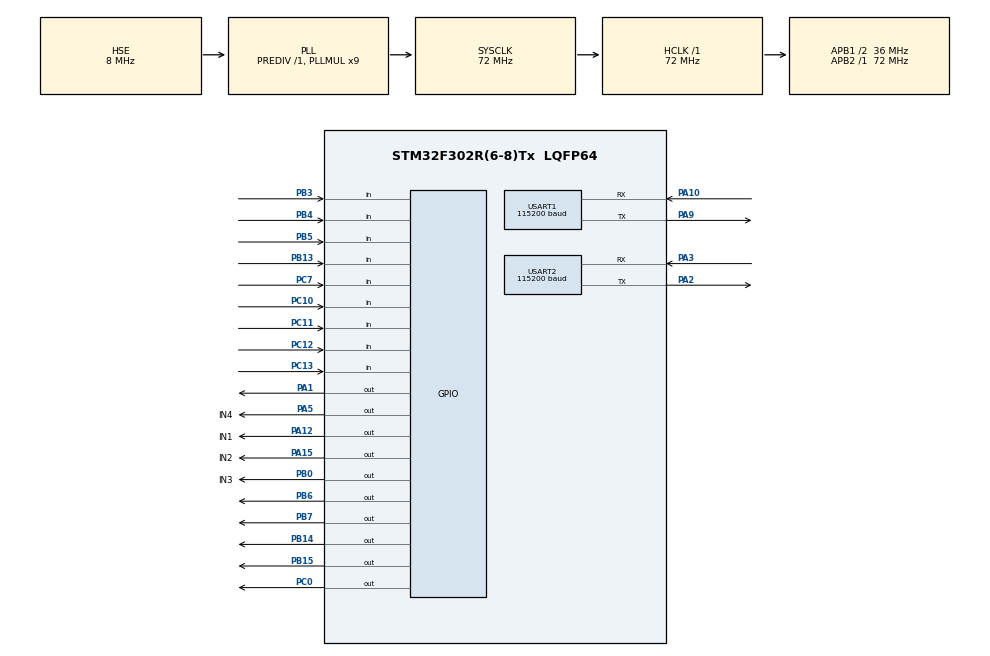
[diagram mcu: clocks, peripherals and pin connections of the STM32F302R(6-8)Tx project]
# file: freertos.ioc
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FREERTOS.Tasks01=Servo,0,128,StartServo,Default,NULL,Dynamic,NULL,NULL;Stepper,0,128,StartStepper,Default,NULL,Dynamic,NULL,NULL;Interrumpir,0,128,StartInterrumpir,Default,NULL,Dynamic,NULL,NULL
FREERTOS.configUSE_NEWLIB_REENTRANT=1
Mcu.Family=STM32F3
Mcu.Name=STM32F302R(6-8)Tx
Mcu.Package=LQFP64
NVIC.PriorityGroup=NVIC_PRIORITYGROUP_4
NVIC.TIM6_DAC_IRQn=true\:15\:0\:false\:false\:true\:false\:false\:true\:true
NVIC.TimeBase=TIM6_DAC_IRQn
NVIC.TimeBaseIP=TIM6
NVIC.USART1_IRQn=true\:5\:0\:false\:false\:true\:true\:true\:true\:true
NVIC.USART2_IRQn=true\:5\:0\:false\:false\:true\:true\:true\:true\:true
PA1.Signal=GPIO_Output
PA10.Mode=Asynchronous
PA10.Signal=USART1_RX
PA12.GPIO_Label=IN1
PA12.Signal=GPIO_Output
PA13.Mode=Serial_Wire
PA13.Signal=SYS_JTMS-SWDIO
PA14.Mode=Serial_Wire
PA14.Signal=SYS_JTCK-SWCLK
PA15.GPIO_Label=IN2
PA15.Signal=GPIO_Output
PA2.Mode=Asynchronous
PA2.Signal=USART2_TX
PA3.Mode=Asynchronous
PA3.Signal=USART2_RX
PA5.GPIO_Label=IN4
PA5.Signal=GPIO_Output
PA9.Mode=Asynchronous
PA9.Signal=USART1_TX
PB0.GPIO_Label=IN3
PB0.Signal=GPIO_Output
PB13.Signal=GPIO_Input
PB14.Signal=GPIO_Output
PB15.Signal=GPIO_Output
PB3.Signal=GPIO_Input
PB4.Signal=GPIO_Input
PB5.Signal=GPIO_Input
PB6.Signal=GPIO_Output
PB7.Signal=GPIO_Output
PC0.Signal=GPIO_Output
PC10.GPIO_PuPd=GPIO_NOPULL
PC10.Signal=GPIO_Input
PC11.GPIO_PuPd=GPIO_NOPULL
PC11.Signal=GPIO_Input
PC12.GPIO_PuPd=GPIO_NOPULL
PC12.Signal=GPIO_Input
PC13.GPIO_PuPd=GPIO_NOPULL
PC13.Signal=GPIO_Input
PC7.Signal=GPIO_Input
PF0-OSC_IN.Mode=HSE-External-Oscillator
PF0-OSC_IN.Signal=RCC_OSC_IN
PF1-OSC_OUT.Mode=HSE-External-Oscillator
PF1-OSC_OUT.Signal=RCC_OSC_OUT
ProjectManager.HeapSize=0x200
ProjectManager.StackSize=0x400
ProjectManager.TargetToolchain=STM32CubeIDE
RCC.AHBFreq_Value=72000000
RCC.APB1CLKDivider=RCC_HCLK_DIV2
RCC.APB1Freq_Value=36000000
RCC.APB1TimFreq_Value=72000000
RCC.APB2Freq_Value=72000000
RCC.APB2TimFreq_Value=72000000
RCC.CortexFreq_Value=72000000
RCC.HCLKFreq_Value=72000000
RCC.HSE_VALUE=8000000
RCC.HSI_VALUE=8000000
RCC.LSE_VALUE=32768
RCC.PLLM=8
RCC.PLLMUL=RCC_PLL_MUL9
RCC.PLLN=336
RCC.PLLP=RCC_PLLP_DIV4
RCC.PLLQ=7
RCC.PLLSourceVirtual=RCC_PLLSOURCE_HSE
RCC.SYSCLKFreq_VALUE=72000000
RCC.SYSCLKSourceVirtual=RCC_SYSCLKSOURCE_PLLCLK
RCC.USBFreq_Value=72000000
TIM1.Period=65535
TIM1.Prescaler=71
TIM2.Period=65535
TIM2.Prescaler=72-1
USART1.BaudRate=115200
USART1.VirtualMode-Asynchronous=VM_ASYNC
USART2.BaudRate=115200
USART2.VirtualMode-Asynchronous=VM_ASYNC
VP_FREERTOS_VS_CMSIS_V1.Mode=CMSIS_V1
VP_SYS_VS_tim6.Mode=TIM6
VP_TIM1_VS_ClockSourceINT.Mode=Internal
VP_TIM2_VS_ClockSourceINT.Mode=Internal
board=NUCLEO-F302R8

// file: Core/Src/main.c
/* USER CODE BEGIN Header */
/**
 ******************************************************************************
 * @file           : main.c
 * @brief          : Main program body
 ******************************************************************************
 * @attention
 *
 * Copyright (c) 2023 STMicroelectronics.
 * All rights reserved.
 *
 * This software is licensed under terms that can be found in the LICENSE file
 * in the root directory of this software component.
 * If no LICENSE file comes with this software, it is provided AS-IS.
 *
 ******************************************************************************
 ******************************************************************************
 Nombre: Angel Gabrir Segura V

 Matricula: 2021-0311

 Proyecto final
 ******************************************************************************
 ******************************************************************************
 */
/* USER CODE END Header */
#include "main.h"
#include "cmsis_os.h"

/* USER CODE BEGIN Includes */
#include "StepMotor.h"
//#include "Servo.h"
#include "max_matrix_stm32.h"
//#include "UartRingbuffer_multi.h"
/* USER CODE END Includes */

TIM_HandleTypeDef htim1;
TIM_HandleTypeDef htim2;

UART_HandleTypeDef huart1;
UART_HandleTypeDef huart2;

osThreadId ServoHandle;
osThreadId StepperHandle;
osThreadId InterrumpirHandle;

void SystemClock_Config(void);
static void MX_GPIO_Init(void);
static void MX_TIM2_Init(void);
static void MX_TIM1_Init(void);
static void MX_USART1_UART_Init(void);
static void MX_USART2_UART_Init(void);
void StartServo(void const *argument);
void StartStepper(void const *argument);
void StartInterrumpir(void const *argument);

/* USER CODE BEGIN PFP */
int NIVEL1 = 0;
int NIVEL2 = 0;
int NIVEL3 = 0;
int SETT = 0;
/* USER CODE END PFP */

/* USER CODE BEGIN 0 */
#define DIR_PIN GPIO_PIN_7  // for motor1
#define DIR_PORT GPIOB     // for motor1
#define STEP_PIN GPIO_PIN_1 // for motor1
#define STEP_PORT GPIOA   // for motor1

void delay(uint16_t us) {
	__HAL_TIM_SET_COUNTER(&htim1, 0);

	while (__HAL_TIM_GET_COUNTER(&htim1) < us)
		;
}

#define stepsperrev 4096

// micro seconds delay for motor1
void microDelay1(uint16_t delayy) {
	__HAL_TIM_SET_COUNTER(&htim1, 0);
	while (__HAL_TIM_GET_COUNTER(&htim1) < delayy)
		;
}

// motor1 for both directions
void step(int stepss, uint8_t directionN, uint16_t delayyy) {
	int x;
	if (directionN == 0)
		HAL_GPIO_WritePin(DIR_PORT, DIR_PIN, GPIO_PIN_SET);
	else
		HAL_GPIO_WritePin(DIR_PORT, DIR_PIN, GPIO_PIN_RESET);
	for (x = 0; x < stepss; x = x + 1) {
		HAL_GPIO_WritePin(STEP_PORT, STEP_PIN, GPIO_PIN_SET);
		microDelay1(delayyy);
		HAL_GPIO_WritePin(STEP_PORT, STEP_PIN, GPIO_PIN_RESET);
		microDelay1(delayyy);
	}
}

/* USER CODE END 0 */

int main(void) {

	/* MCU Configuration--------------------------------------------------------*/

	/* Reset of all peripherals, Initializes the Flash interface and the Systick. */
	HAL_Init();

	/* Configure the system clock */
	SystemClock_Config();

	/* Initialize all configured peripherals */
	MX_GPIO_Init();
	MX_TIM2_Init();
	MX_TIM1_Init();
	MX_USART1_UART_Init();
	MX_USART2_UART_Init();
	/* USER CODE BEGIN 2 */
	HAL_TIM_Base_Start(&htim2);
	HAL_TIM_Base_Start(&htim1);
	max_init(0x02);
	//ESP_Init("Redmi Note 9S", "53c289b6633c");
	//Ringbuf_init();
	//ESP_Init(ssid, password);
	//ESP_Init("CLAROKN9QT", "485754435EBED19C");
	//HAL_TIM_Base_Start(&htim1);
	/* USER CODE END 2 */

	/* Create the thread(s) */
	/* definition and creation of Servo */
	osThreadDef(Servo, StartServo, osPriorityNormal, 0, 128);
	ServoHandle = osThreadCreate(osThread(Servo), NULL);

	/* definition and creation of Stepper */
	osThreadDef(Stepper, StartStepper, osPriorityNormal, 0, 128);
	StepperHandle = osThreadCreate(osThread(Stepper), NULL);

	/* definition and creation of Interrumpir */
	osThreadDef(Interrumpir, StartInterrumpir, osPriorityNormal, 0, 128);
	InterrumpirHandle = osThreadCreate(osThread(Interrumpir), NULL);

	/* Start scheduler */
	osKernelStart();
	/* We should never get here as control is now taken by the scheduler */
	/* Infinite loop */
	while (1) {

	}
}

void SystemClock_Config(void) {
	RCC_OscInitTypeDef RCC_OscInitStruct = { 0 };
	RCC_ClkInitTypeDef RCC_ClkInitStruct = { 0 };
	RCC_PeriphCLKInitTypeDef PeriphClkInit = { 0 };

	/** Initializes the RCC Oscillators according to the specified parameters
	 * in the RCC_OscInitTypeDef structure.
	 */
	RCC_OscInitStruct.OscillatorType = RCC_OSCILLATORTYPE_HSE;
	RCC_OscInitStruct.HSEState = RCC_HSE_ON;
	RCC_OscInitStruct.HSEPredivValue = RCC_HSE_PREDIV_DIV1;
	RCC_OscInitStruct.HSIState = RCC_HSI_ON;
	RCC_OscInitStruct.PLL.PLLState = RCC_PLL_ON;
	RCC_OscInitStruct.PLL.PLLSource = RCC_PLLSOURCE_HSE;
	RCC_OscInitStruct.PLL.PLLMUL = RCC_PLL_MUL9;
	if (HAL_RCC_OscConfig(&RCC_OscInitStruct) != HAL_OK) {
		Error_Handler();
	}

	/** Initializes the CPU, AHB and APB buses clocks
	 */
	RCC_ClkInitStruct.ClockType = RCC_CLOCKTYPE_HCLK | RCC_CLOCKTYPE_SYSCLK
			| RCC_CLOCKTYPE_PCLK1 | RCC_CLOCKTYPE_PCLK2;
	RCC_ClkInitStruct.SYSCLKSource = RCC_SYSCLKSOURCE_PLLCLK;
	RCC_ClkInitStruct.AHBCLKDivider = RCC_SYSCLK_DIV1;
	RCC_ClkInitStruct.APB1CLKDivider = RCC_HCLK_DIV2;
	RCC_ClkInitStruct.APB2CLKDivider = RCC_HCLK_DIV1;

	if (HAL_RCC_ClockConfig(&RCC_ClkInitStruct, FLASH_LATENCY_2) != HAL_OK) {
		Error_Handler();
	}
	PeriphClkInit.PeriphClockSelection = RCC_PERIPHCLK_USART1
			| RCC_PERIPHCLK_TIM1;
	PeriphClkInit.Usart1ClockSelection = RCC_USART1CLKSOURCE_PCLK1;
	PeriphClkInit.Tim1ClockSelection = RCC_TIM1CLK_HCLK;
	if (HAL_RCCEx_PeriphCLKConfig(&PeriphClkInit) != HAL_OK) {
		Error_Handler();
	}
}

static void MX_TIM1_Init(void) {

	TIM_ClockConfigTypeDef sClockSourceConfig = { 0 };
	TIM_MasterConfigTypeDef sMasterConfig = { 0 };

	htim1.Instance = TIM1;
	htim1.Init.Prescaler = 71;
	htim1.Init.CounterMode = TIM_COUNTERMODE_UP;
	htim1.Init.Period = 65535;
	htim1.Init.ClockDivision = TIM_CLOCKDIVISION_DIV1;
	htim1.Init.RepetitionCounter = 0;
	htim1.Init.AutoReloadPreload = TIM_AUTORELOAD_PRELOAD_DISABLE;
	if (HAL_TIM_Base_Init(&htim1) != HAL_OK) {
		Error_Handler();
	}
	sClockSourceConfig.ClockSource = TIM_CLOCKSOURCE_INTERNAL;
	if (HAL_TIM_ConfigClockSource(&htim1, &sClockSourceConfig) != HAL_OK) {
		Error_Handler();
	}
	sMasterConfig.MasterOutputTrigger = TIM_TRGO_RESET;
	sMasterConfig.MasterOutputTrigger2 = TIM_TRGO2_RESET;
	sMasterConfig.MasterSlaveMode = TIM_MASTERSLAVEMODE_DISABLE;
	if (HAL_TIMEx_MasterConfigSynchronization(&htim1, &sMasterConfig)
			!= HAL_OK) {
		Error_Handler();
	}

}

static void MX_TIM2_Init(void) {

	TIM_ClockConfigTypeDef sClockSourceConfig = { 0 };
	TIM_MasterConfigTypeDef sMasterConfig = { 0 };

	htim2.Instance = TIM2;
	htim2.Init.Prescaler = 72 - 1;
	htim2.Init.CounterMode = TIM_COUNTERMODE_UP;
	htim2.Init.Period = 65535;
	htim2.Init.ClockDivision = TIM_CLOCKDIVISION_DIV1;
	htim2.Init.AutoReloadPreload = TIM_AUTORELOAD_PRELOAD_DISABLE;
	if (HAL_TIM_Base_Init(&htim2) != HAL_OK) {
		Error_Handler();
	}
	sClockSourceConfig.ClockSource = TIM_CLOCKSOURCE_INTERNAL;
	if (HAL_TIM_ConfigClockSource(&htim2, &sClockSourceConfig) != HAL_OK) {
		Error_Handler();
	}
	sMasterConfig.MasterOutputTrigger = TIM_TRGO_RESET;
	sMasterConfig.MasterSlaveMode = TIM_MASTERSLAVEMODE_DISABLE;
	if (HAL_TIMEx_MasterConfigSynchronization(&htim2, &sMasterConfig)
			!= HAL_OK) {
		Error_Handler();
	}

}

static void MX_USART1_UART_Init(void) {

	huart1.Instance = USART1;
	huart1.Init.BaudRate = 115200;
	huart1.Init.WordLength = UART_WORDLENGTH_8B;
	huart1.Init.StopBits = UART_STOPBITS_1;
	huart1.Init.Parity = UART_PARITY_NONE;
	huart1.Init.Mode = UART_MODE_TX_RX;
	huart1.Init.HwFlowCtl = UART_HWCONTROL_NONE;
	huart1.Init.OverSampling = UART_OVERSAMPLING_16;
	huart1.Init.OneBitSampling = UART_ONE_BIT_SAMPLE_DISABLE;
	huart1.AdvancedInit.AdvFeatureInit = UART_ADVFEATURE_NO_INIT;
	if (HAL_UART_Init(&huart1) != HAL_OK) {
		Error_Handler();
	}

}

static void MX_USART2_UART_Init(void) {

	huart2.Instance = USART2;
	huart2.Init.BaudRate = 115200;
	huart2.Init.WordLength = UART_WORDLENGTH_8B;
	huart2.Init.StopBits = UART_STOPBITS_1;
	huart2.Init.Parity = UART_PARITY_NONE;
	huart2.Init.Mode = UART_MODE_TX_RX;
	huart2.Init.HwFlowCtl = UART_HWCONTROL_NONE;
	huart2.Init.OverSampling = UART_OVERSAMPLING_16;
	huart2.Init.OneBitSampling = UART_ONE_BIT_SAMPLE_DISABLE;
	huart2.AdvancedInit.AdvFeatureInit = UART_ADVFEATURE_NO_INIT;
	if (HAL_UART_Init(&huart2) != HAL_OK) {
		Error_Handler();
	}

}

static void MX_GPIO_Init(void) {
	GPIO_InitTypeDef GPIO_InitStruct = { 0 };

	/* GPIO Ports Clock Enable */
	__HAL_RCC_GPIOC_CLK_ENABLE();
	__HAL_RCC_GPIOF_CLK_ENABLE();
	__HAL_RCC_GPIOA_CLK_ENABLE();
	__HAL_RCC_GPIOB_CLK_ENABLE();

	/*Configure GPIO pin Output Level */
	HAL_GPIO_WritePin(GPIOC, GPIO_PIN_0, GPIO_PIN_RESET);

	/*Configure GPIO pin Output Level */
	HAL_GPIO_WritePin(GPIOA, GPIO_PIN_1 | IN4_Pin | IN1_Pin | IN2_Pin,
			GPIO_PIN_RESET);

	/*Configure GPIO pin Output Level */
	HAL_GPIO_WritePin(GPIOB,
			IN3_Pin | GPIO_PIN_14 | GPIO_PIN_15 | GPIO_PIN_6 | GPIO_PIN_7,
			GPIO_PIN_RESET);

	/*Configure GPIO pins : PC13 PC7 PC10 PC11
	 PC12 */
	GPIO_InitStruct.Pin = GPIO_PIN_13 | GPIO_PIN_7 | GPIO_PIN_10 | GPIO_PIN_11
			| GPIO_PIN_12;
	GPIO_InitStruct.Mode = GPIO_MODE_INPUT;
	GPIO_InitStruct.Pull = GPIO_NOPULL;
	HAL_GPIO_Init(GPIOC, &GPIO_InitStruct);

	/*Configure GPIO pin : PC0 */
	GPIO_InitStruct.Pin = GPIO_PIN_0;
	GPIO_InitStruct.Mode = GPIO_MODE_OUTPUT_PP;
	GPIO_InitStruct.Pull = GPIO_NOPULL;
	GPIO_InitStruct.Speed = GPIO_SPEED_FREQ_LOW;
	HAL_GPIO_Init(GPIOC, &GPIO_InitStruct);

	/*Configure GPIO pins : PA1 IN4_Pin IN1_Pin IN2_Pin */
	GPIO_InitStruct.Pin = GPIO_PIN_1 | IN4_Pin | IN1_Pin | IN2_Pin;
	GPIO_InitStruct.Mode = GPIO_MODE_OUTPUT_PP;
	GPIO_InitStruct.Pull = GPIO_NOPULL;
	GPIO_InitStruct.Speed = GPIO_SPEED_FREQ_LOW;
	HAL_GPIO_Init(GPIOA, &GPIO_InitStruct);

	/*Configure GPIO pins : IN3_Pin PB14 PB15 PB6
	 PB7 */
	GPIO_InitStruct.Pin = IN3_Pin | GPIO_PIN_14 | GPIO_PIN_15 | GPIO_PIN_6
			| GPIO_PIN_7;
	GPIO_InitStruct.Mode = GPIO_MODE_OUTPUT_PP;
	GPIO_InitStruct.Pull = GPIO_NOPULL;
	GPIO_InitStruct.Speed = GPIO_SPEED_FREQ_LOW;
	HAL_GPIO_Init(GPIOB, &GPIO_InitStruct);

	/*Configure GPIO pins : PB13 PB3 PB4 PB5 */
	GPIO_InitStruct.Pin = GPIO_PIN_13 | GPIO_PIN_3 | GPIO_PIN_4 | GPIO_PIN_5;
	GPIO_InitStruct.Mode = GPIO_MODE_INPUT;
	GPIO_InitStruct.Pull = GPIO_NOPULL;
	HAL_GPIO_Init(GPIOB, &GPIO_InitStruct);

}

void StartServo(void const *argument) {
	/* USER CODE BEGIN 5 */

	/* Infinite loop */
	for (;;) {

		if (HAL_GPIO_ReadPin(GPIOB, GPIO_PIN_13) == GPIO_PIN_SET && HAL_GPIO_ReadPin(GPIOB, GPIO_PIN_5)== GPIO_PIN_RESET) {
			step(300, 0, 1500);
			osDelay(5000);
			stepper_step_angle(290, 0, 13);
			osDelay(5000);
			stepper_step_angle(250, 1, 13);
		}

		if (HAL_GPIO_ReadPin(GPIOC, GPIO_PIN_10) == GPIO_PIN_SET) {
			step(50, 0, 1500);

		}

		if (HAL_GPIO_ReadPin(GPIOC, GPIO_PIN_11) == GPIO_PIN_SET) {
					step(10900, 1, 1500);

				}

/*
		if (HAL_GPIO_ReadPin(GPIOC, GPIO_PIN_12) == GPIO_PIN_SET && HAL_GPIO_ReadPin(GPIOC, GPIO_PIN_13) == GPIO_PIN_RESET) {
			HAL_TIM_Base_Stop(&htim1);
			HAL_GPIO_TogglePin(GPIOC, GPIO_PIN_0);
			max_clear();
			write_char(42, 1);

		} else if (HAL_GPIO_ReadPin(GPIOC, GPIO_PIN_12) == GPIO_PIN_RESET && SETT == 0) {
			scroll_char(26, 200, right);

		}
*/
	}

	/* USER CODE END 5 */
}

void StartStepper(void const *argument) {
	/* USER CODE BEGIN StartStepper */

	/* Infinite loop */
	for (;;) {
             if (HAL_GPIO_ReadPin(GPIOB, GPIO_PIN_13) == GPIO_PIN_SET && HAL_GPIO_ReadPin(GPIOC, GPIO_PIN_12) == GPIO_PIN_RESET) {
            	 max_clear();
            	 scroll_char(27, 200, left);

				}
             if (HAL_GPIO_ReadPin(GPIOB, GPIO_PIN_13) == GPIO_PIN_SET) {
            	 max_clear();
            	 write_char(127, 1);

             				}
		/*if (HAL_GPIO_ReadPin(GPIOC, GPIO_PIN_13) == GPIO_PIN_SET) {
					HAL_TIM_Base_Start(&htim1);
					HAL_GPIO_TogglePin(GPIOC, GPIO_PIN_0);
					max_clear();
					write_char(42, 1);

				}*/

	}

	/* USER CODE END StartStepper */
}

void StartInterrumpir(void const *argument) {
	/* USER CODE BEGIN StartInterrumpir */
	/* Infinite loop */
	for (;;) {
		/*
		if (HAL_GPIO_ReadPin(GPIOC, GPIO_PIN_0) == GPIO_PIN_RESET) {
			step(10000, 1, 1500);
			stepper_step_angle(290, 1, 13);
									osDelay(5000);
									stepper_step_angle(250, 0, 13);
		} else if (HAL_GPIO_ReadPin(GPIOC, GPIO_PIN_0) == GPIO_PIN_SET) {

		}
*/
	}
	/* USER CODE END StartInterrumpir */
}

void HAL_TIM_PeriodElapsedCallback(TIM_HandleTypeDef *htim) {
	if (htim->Instance == TIM6) {
		HAL_IncTick();
	}
}

void Error_Handler(void) {
	__disable_irq();
	while (1) {
	}
}
